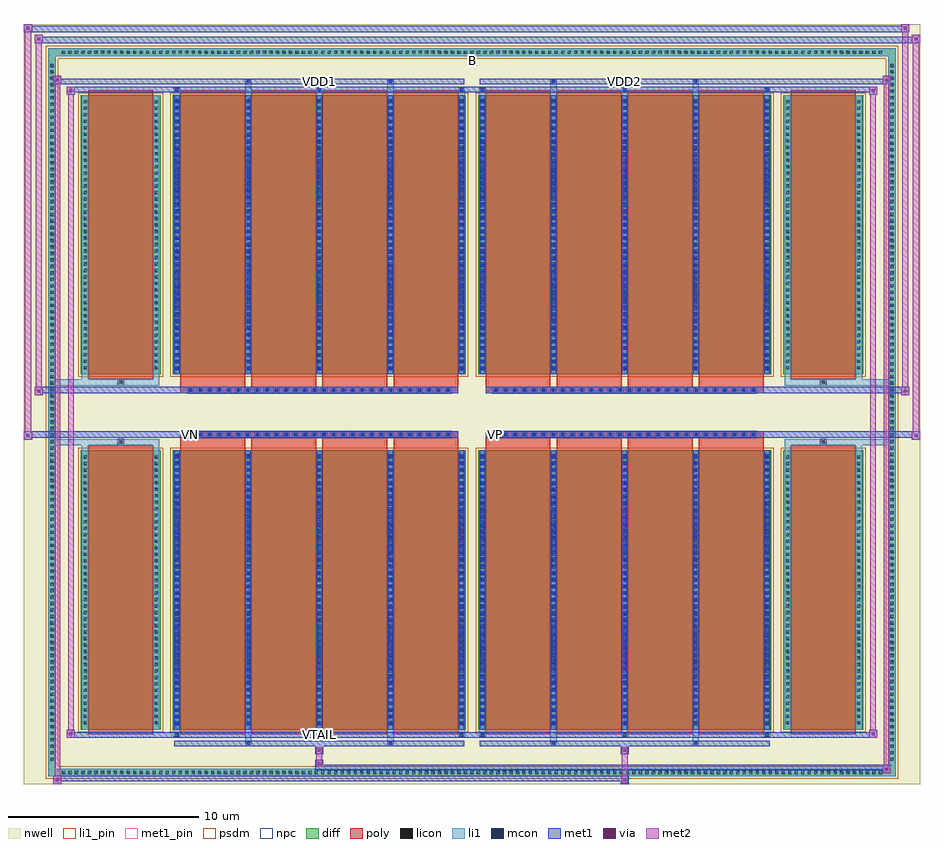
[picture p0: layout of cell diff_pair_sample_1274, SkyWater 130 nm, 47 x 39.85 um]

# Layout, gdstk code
import gdstk
lib = gdstk.Library(unit=1e-6, precision=5e-09)
def R(c, l, rs):  # rectangles x0, y0, x1, y1
    for r in rs: c.add(gdstk.rectangle(r[:2], r[2:], *l))
def A(c, l, x, y, w, h, nx, ny, dx, dy):  # array of equal rectangles
    R(c, l, [(x+i*dx, y+j*dy, x+i*dx+w, y+j*dy+h) for i in range(nx) for j in range(ny)])
def P(c, l, *ps):  # polygons
    for p in ps: c.add(gdstk.Polygon(p, *l))
nwell = (64, 20)
diff = (65, 20)
poly = (66, 20)
licon = (66, 44)
li1_pin = (67, 16)
li1 = (67, 20)
mcon = (67, 44)
met1_pin = (68, 16)
met1 = (68, 20)
via = (68, 44)
met2 = (69, 20)
psdm = (94, 20)
npc = (95, 20)

diff_pair_sample_1274 = lib.new_cell('diff_pair_sample_1274')
R(diff_pair_sample_1274, nwell, [(-23.5,-19.49,23.5,20.36), (-20.82,-17.68,-0.01,-0.8), (0.01,-17.68,20.82,-0.8), (-20.82,0.8,-0.01,17.68), (0.01,0.8,20.82,17.68)])
A(diff_pair_sample_1274, diff, -21.625, -19.09, 0.41, 0.41, 127, 2, 0.34, 37.77)
A(diff_pair_sample_1274, diff, -22.23, -18.395, 0.41, 0.41, 1, 108, 0, 0.34)
A(diff_pair_sample_1274, diff, 21.82, -18.395, 0.41, 0.41, 1, 108, 0, 0.34)
R(diff_pair_sample_1274, diff, [(-21.625,-19.09,21.625,-18.68), (-22.23,-18.395,-21.82,18.395), (21.82,-18.395,22.23,18.395), (-20.51,-16.635,-16.33,-1.985), (-15.69,-16.635,-0.32,-1.985), (0.32,-16.635,15.69,-1.985), (16.33,-16.635,20.51,-1.985), (-20.51,1.985,-16.33,16.635), (-15.69,1.985,-0.32,16.635), (0.32,1.985,15.69,16.635), (16.33,1.985,20.51,16.635), (-21.625,18.68,21.625,19.09)])
P(diff_pair_sample_1274, diff, [(22.23,19.09),(-22.23,19.09),(-22.23,-18.68),(-21.82,-18.68),(-21.82,18.68),(21.82,18.68),(21.82,-18.68),(-21.82,-18.68),(-22.23,-18.68),(-22.23,-19.09),(22.23,-19.09)])
A(diff_pair_sample_1274, poly, -15.3, -16.885, 3.4, 15.15, 4, 2, 3.73, 18.62)
A(diff_pair_sample_1274, poly, 0.71, -16.885, 3.4, 15.15, 4, 2, 3.73, 18.62)
A(diff_pair_sample_1274, poly, -15.3, -1.735, 3.4, 0.405, 4, 2, 3.73, 3.065)
A(diff_pair_sample_1274, poly, 0.71, -1.735, 3.4, 0.405, 4, 2, 3.73, 3.065)
A(diff_pair_sample_1274, poly, -14.92, -1.33, 0.33, 0.33, 28, 2, 0.5, 2.33)
A(diff_pair_sample_1274, poly, 1.09, -1.33, 0.33, 0.33, 28, 2, 0.5, 2.33)
R(diff_pair_sample_1274, poly, [(-20.12,-16.885,-16.72,-1.735), (16.72,-16.885,20.12,-1.735), (-18.585,-1.735,-18.255,-1.405), (-18.585,-1.735,-18.255,-1.405), (18.255,-1.735,18.585,-1.405), (18.255,-1.735,18.585,-1.405), (-15.3,-1.33,-0.71,-1), (0.71,-1.33,15.3,-1), (-15.3,1,-0.71,1.33), (0.71,1,15.3,1.33), (-18.585,1.405,-18.255,1.735), (-18.585,1.405,-18.255,1.735), (18.255,1.405,18.585,1.735), (18.255,1.405,18.585,1.735), (-20.12,1.735,-16.72,16.885), (16.72,1.735,20.12,16.885)])
A(diff_pair_sample_1274, licon, -21.505, -18.97, 0.17, 0.17, 127, 2, 0.34, 37.77)
A(diff_pair_sample_1274, licon, -22.11, -18.275, 0.17, 0.17, 1, 108, 0, 0.34)
A(diff_pair_sample_1274, licon, 21.94, -18.275, 0.17, 0.17, 1, 108, 0, 0.34)
A(diff_pair_sample_1274, licon, -20.37, -16.365, 0.17, 0.17, 1, 42, 0, 0.34)
A(diff_pair_sample_1274, licon, -16.64, -16.365, 0.17, 0.17, 1, 42, 0, 0.34)
A(diff_pair_sample_1274, licon, -15.55, -16.365, 0.17, 0.17, 5, 42, 3.73, 0.34)
A(diff_pair_sample_1274, licon, 0.46, -16.365, 0.17, 0.17, 5, 42, 3.73, 0.34)
A(diff_pair_sample_1274, licon, 16.47, -16.365, 0.17, 0.17, 1, 42, 0, 0.34)
A(diff_pair_sample_1274, licon, 20.2, -16.365, 0.17, 0.17, 1, 42, 0, 0.34)
A(diff_pair_sample_1274, licon, -14.84, -1.25, 0.17, 0.17, 28, 2, 0.5, 2.33)
A(diff_pair_sample_1274, licon, 1.17, -1.25, 0.17, 0.17, 28, 2, 0.5, 2.33)
A(diff_pair_sample_1274, licon, -20.37, 2.255, 0.17, 0.17, 1, 42, 0, 0.34)
A(diff_pair_sample_1274, licon, -16.64, 2.255, 0.17, 0.17, 1, 42, 0, 0.34)
A(diff_pair_sample_1274, licon, -15.55, 2.255, 0.17, 0.17, 5, 42, 3.73, 0.34)
A(diff_pair_sample_1274, licon, 0.46, 2.255, 0.17, 0.17, 5, 42, 3.73, 0.34)
A(diff_pair_sample_1274, licon, 16.47, 2.255, 0.17, 0.17, 1, 42, 0, 0.34)
A(diff_pair_sample_1274, licon, 20.2, 2.255, 0.17, 0.17, 1, 42, 0, 0.34)
R(diff_pair_sample_1274, licon, [(-18.505,-1.655,-18.335,-1.485), (18.335,-1.655,18.505,-1.485), (-18.505,1.485,-18.335,1.655), (18.335,1.485,18.505,1.655)])
R(diff_pair_sample_1274, li1_pin, [(-0.25,18.18,0.25,18.68)])
A(diff_pair_sample_1274, li1, -21.585, -19.05, 0.33, 0.33, 127, 2, 0.34, 37.77)
A(diff_pair_sample_1274, li1, -22.19, -18.355, 0.33, 0.33, 1, 108, 0, 0.34)
A(diff_pair_sample_1274, li1, 21.86, -18.355, 0.33, 0.33, 1, 108, 0, 0.34)
A(diff_pair_sample_1274, li1, -15.63, -17.01, 0.33, 0.375, 3, 2, 7.46, 33.645)
A(diff_pair_sample_1274, li1, -15.55, -17.01, 0.17, 0.17, 3, 2, 7.46, 33.85)
A(diff_pair_sample_1274, li1, 0.38, -17.01, 0.33, 0.375, 3, 2, 7.46, 33.645)
A(diff_pair_sample_1274, li1, 0.46, -17.01, 0.17, 0.17, 3, 2, 7.46, 33.85)
A(diff_pair_sample_1274, li1, -15.63, -16.635, 0.33, 14.65, 5, 2, 3.73, 18.62)
A(diff_pair_sample_1274, li1, 0.38, -16.635, 0.33, 14.65, 5, 2, 3.73, 18.62)
A(diff_pair_sample_1274, li1, -20.45, -16.445, 0.33, 0.33, 1, 42, 0, 0.34)
A(diff_pair_sample_1274, li1, -16.72, -16.445, 0.33, 0.33, 1, 42, 0, 0.34)
A(diff_pair_sample_1274, li1, -15.63, -16.445, 0.33, 0.33, 5, 42, 3.73, 0.34)
A(diff_pair_sample_1274, li1, 0.38, -16.445, 0.33, 0.33, 5, 42, 3.73, 0.34)
A(diff_pair_sample_1274, li1, 16.39, -16.445, 0.33, 0.33, 1, 42, 0, 0.34)
A(diff_pair_sample_1274, li1, 20.12, -16.445, 0.33, 0.33, 1, 42, 0, 0.34)
A(diff_pair_sample_1274, li1, -15.55, -16.415, 0.17, 0.17, 5, 40, 3.73, 0.36)
A(diff_pair_sample_1274, li1, -15.55, -16.415, 0.17, 14.21, 5, 2, 3.73, 18.62)
A(diff_pair_sample_1274, li1, 0.46, -16.415, 0.17, 0.17, 5, 40, 3.73, 0.36)
A(diff_pair_sample_1274, li1, 0.46, -16.415, 0.17, 14.21, 5, 2, 3.73, 18.62)
A(diff_pair_sample_1274, li1, -14.92, -1.33, 0.33, 0.33, 28, 2, 0.5, 2.33)
A(diff_pair_sample_1274, li1, 1.09, -1.33, 0.33, 0.33, 28, 2, 0.5, 2.33)
A(diff_pair_sample_1274, li1, -20.45, 2.175, 0.33, 0.33, 1, 42, 0, 0.34)
A(diff_pair_sample_1274, li1, -16.72, 2.175, 0.33, 0.33, 1, 42, 0, 0.34)
A(diff_pair_sample_1274, li1, -15.63, 2.175, 0.33, 0.33, 5, 42, 3.73, 0.34)
A(diff_pair_sample_1274, li1, 0.38, 2.175, 0.33, 0.33, 5, 42, 3.73, 0.34)
A(diff_pair_sample_1274, li1, 16.39, 2.175, 0.33, 0.33, 1, 42, 0, 0.34)
A(diff_pair_sample_1274, li1, 20.12, 2.175, 0.33, 0.33, 1, 42, 0, 0.34)
A(diff_pair_sample_1274, li1, -15.55, 2.205, 0.17, 0.17, 5, 40, 3.73, 0.36)
A(diff_pair_sample_1274, li1, 0.46, 2.205, 0.17, 0.17, 5, 40, 3.73, 0.36)
R(diff_pair_sample_1274, li1, [(-22.23,-19.09,-21.82,-18.68), (-22.23,-19.09,-21.82,-18.68), (-21.82,-19.09,21.82,-18.68), (21.82,-19.09,22.23,-18.68), (21.82,-19.09,22.23,-18.68), (-22.23,-18.68,-21.82,18.68), (21.82,-18.68,22.23,18.68), (-11.9,-17.44,-11.57,-16.635), (-11.82,-17.44,-11.65,-17.27), (-4.44,-17.44,-4.11,-16.635), (-4.36,-17.44,-4.19,-17.27), (4.11,-17.44,4.44,-16.635), (4.19,-17.44,4.36,-17.27), (11.57,-17.44,11.9,-16.635), (11.65,-17.44,11.82,-17.27), (-20.45,-16.635,-20.12,-1.985), (-16.72,-16.635,-16.39,-1.985), (16.39,-16.635,16.72,-1.985), (20.12,-16.635,20.45,-1.985), (-20.45,-1.985,-20.12,-1.405), (-16.72,-1.985,-16.39,-1.405), (16.39,-1.985,16.72,-1.405), (20.12,-1.985,20.45,-1.405), (-22.23,-1.735,-18.585,-1.405), (-20.45,-1.735,-18.585,-1.405), (-18.585,-1.735,-18.255,-1.405), (-18.255,-1.735,-16.39,-1.405), (16.39,-1.735,18.255,-1.405), (18.255,-1.735,18.585,-1.405), (18.255,-1.735,22.23,-1.405), (18.585,-1.735,20.45,-1.405), (-22.23,1.405,-18.585,1.735), (-20.45,1.405,-18.585,1.735), (-20.45,1.405,-20.12,1.985), (-18.585,1.405,-18.255,1.735), (-18.255,1.405,-16.39,1.735), (-16.72,1.405,-16.39,1.985), (16.39,1.405,18.255,1.735), (16.39,1.405,16.72,1.985), (18.255,1.405,18.585,1.735), (18.255,1.405,22.23,1.735), (18.585,1.405,20.45,1.735), (20.12,1.405,20.45,1.985), (-20.45,1.985,-20.12,16.635), (-16.72,1.985,-16.39,16.635), (16.39,1.985,16.72,16.635), (20.12,1.985,20.45,16.635), (-11.9,16.635,-11.57,17.44), (-4.44,16.635,-4.11,17.44), (4.11,16.635,4.44,17.44), (11.57,16.635,11.9,17.44), (-11.82,17.27,-11.65,17.44), (-4.36,17.27,-4.19,17.44), (4.19,17.27,4.36,17.44), (11.65,17.27,11.82,17.44), (-22.23,18.68,-21.82,19.09), (-22.23,18.68,-21.82,19.09), (-21.82,18.68,21.82,19.09), (21.82,18.68,22.23,19.09), (21.82,18.68,22.23,19.09)])
A(diff_pair_sample_1274, mcon, -15.55, -17.01, 0.17, 0.17, 3, 2, 7.46, 33.85)
A(diff_pair_sample_1274, mcon, 0.46, -17.01, 0.17, 0.17, 3, 2, 7.46, 33.85)
A(diff_pair_sample_1274, mcon, -15.55, -16.415, 0.17, 0.17, 5, 40, 3.73, 0.36)
A(diff_pair_sample_1274, mcon, 0.46, -16.415, 0.17, 0.17, 5, 40, 3.73, 0.36)
A(diff_pair_sample_1274, mcon, -14.84, -1.25, 0.17, 0.17, 28, 2, 0.5, 2.33)
A(diff_pair_sample_1274, mcon, 1.17, -1.25, 0.17, 0.17, 28, 2, 0.5, 2.33)
A(diff_pair_sample_1274, mcon, -15.55, 2.205, 0.17, 0.17, 5, 40, 3.73, 0.36)
A(diff_pair_sample_1274, mcon, 0.46, 2.205, 0.17, 0.17, 5, 40, 3.73, 0.36)
R(diff_pair_sample_1274, mcon, [(-11.82,-17.44,-11.65,-17.27), (-4.36,-17.44,-4.19,-17.27), (4.19,-17.44,4.36,-17.27), (11.65,-17.44,11.82,-17.27), (-11.82,17.27,-11.65,17.44), (-4.36,17.27,-4.19,17.44), (4.19,17.27,4.36,17.44), (11.65,17.27,11.82,17.44)])
R(diff_pair_sample_1274, met1_pin, [(-8.14,-17.05,-7.87,-16.78), (-14.89,-1.29,-14.62,-1.02), (1.12,-1.29,1.39,-1.02), (-8.14,17.23,-7.87,17.5), (7.87,17.23,8.14,17.5)])
A(diff_pair_sample_1274, met1, -15.61, -17.07, 0.29, 0.29, 3, 2, 7.46, 33.85)
A(diff_pair_sample_1274, met1, 0.4, -17.07, 0.29, 0.29, 3, 2, 7.46, 33.85)
A(diff_pair_sample_1274, met1, -15.61, -16.635, 0.29, 14.65, 5, 2, 3.73, 18.62)
A(diff_pair_sample_1274, met1, 0.4, -16.635, 0.29, 14.65, 5, 2, 3.73, 18.62)
A(diff_pair_sample_1274, met1, -15.61, -16.475, 0.29, 0.29, 5, 40, 3.73, 0.36)
A(diff_pair_sample_1274, met1, 0.4, -16.475, 0.29, 0.29, 5, 40, 3.73, 0.36)
A(diff_pair_sample_1274, met1, -14.9, -1.31, 0.29, 0.29, 28, 2, 0.5, 2.33)
A(diff_pair_sample_1274, met1, 1.11, -1.31, 0.29, 0.29, 28, 2, 0.5, 2.33)
A(diff_pair_sample_1274, met1, -15.61, 2.145, 0.29, 0.29, 5, 40, 3.73, 0.36)
A(diff_pair_sample_1274, met1, 0.4, 2.145, 0.29, 0.29, 5, 40, 3.73, 0.36)
R(diff_pair_sample_1274, met1, [(-21.96,-19.49,-21.53,-19.06), (7.79,-19.49,8.22,-19.06), (-21.96,-19.35,8.22,-19.06), (21.53,-18.92,21.96,-18.49), (-8.22,-18.78,21.96,-18.49), (-8.22,-18.64,-7.79,-18.21), (-8.22,-17.93,-7.79,-17.5), (7.79,-17.93,8.22,-17.5), (-15.61,-17.5,-0.4,-17.21), (-11.88,-17.5,-11.59,-17.21), (-4.42,-17.5,-4.13,-17.21), (0.4,-17.5,15.61,-17.21), (4.13,-17.5,4.42,-17.21), (11.59,-17.5,11.88,-17.21), (-21.25,-17.07,-20.82,-16.64), (-21.25,-17.07,-15.61,-16.78), (-15.61,-17.07,-0.4,-16.78), (-0.4,-17.07,0.4,-16.78), (0.4,-17.07,15.61,-16.78), (15.61,-17.07,21.25,-16.78), (20.82,-17.07,21.25,-16.64), (-23.5,-1.43,-23.07,-1), (23.07,-1.43,23.5,-1), (-23.5,-1.33,-0.71,-1), (-15.3,-1.33,-0.71,-1), (0.71,-1.33,15.3,-1), (0.71,-1.33,23.5,-1), (-22.93,0.9,-22.5,1.33), (22.5,0.9,22.93,1.33), (-22.93,1,-15.3,1.33), (-15.3,1,-0.71,1.33), (0.71,1,15.3,1.33), (15.3,1,22.93,1.33), (-21.25,16.64,-20.82,17.07), (20.82,16.64,21.25,17.07), (-21.25,16.78,-15.61,17.07), (-15.61,16.78,-0.4,17.07), (-0.4,16.78,0.4,17.07), (0.4,16.78,15.61,17.07), (15.61,16.78,21.25,17.07), (-21.96,17.21,-21.53,17.64), (-21.96,17.21,-15.61,17.5), (-15.61,17.21,-0.4,17.5), (-11.88,17.21,-11.59,17.5), (-4.42,17.21,-4.13,17.5), (0.4,17.21,15.61,17.5), (4.13,17.21,4.42,17.5), (11.59,17.21,11.88,17.5), (15.61,17.21,21.96,17.5), (21.53,17.21,21.96,17.64), (-22.93,19.36,-22.5,19.79), (-22.93,19.36,-20.82,19.69), (-20.82,19.36,20.82,19.69), (20.82,19.36,23.5,19.69), (23.07,19.36,23.5,19.79), (-23.5,19.93,-23.07,20.36), (-23.5,19.93,-20.82,20.26), (-20.82,19.93,20.82,20.26), (20.82,19.93,22.93,20.26), (22.5,19.93,22.93,20.36)])
R(diff_pair_sample_1274, via, [(-21.82,-19.35,-21.67,-19.2), (7.93,-19.35,8.08,-19.2), (21.67,-18.78,21.82,-18.63), (-8.08,-18.5,-7.93,-18.35), (-8.08,-17.79,-7.93,-17.64), (7.93,-17.79,8.08,-17.64), (-21.11,-16.93,-20.96,-16.78), (20.96,-16.93,21.11,-16.78), (-23.36,-1.29,-23.21,-1.14), (23.21,-1.29,23.36,-1.14), (-22.79,1.04,-22.64,1.19), (22.64,1.04,22.79,1.19), (-21.11,16.78,-20.96,16.93), (20.96,16.78,21.11,16.93), (-21.82,17.35,-21.67,17.5), (21.67,17.35,21.82,17.5), (-22.79,19.5,-22.64,19.65), (23.21,19.5,23.36,19.65), (-23.36,20.07,-23.21,20.22), (22.64,20.07,22.79,20.22)])
R(diff_pair_sample_1274, met2, [(-21.96,-19.49,-21.53,-19.06), (-21.89,-19.49,-21.6,17.64), (-21.6,-19.49,-21.53,-19.06), (-21.91,-19.44,-21.58,-19.11), (7.84,-19.44,8.17,-19.11), (7.84,-19.11,8.17,-17.88), (21.53,-18.92,21.96,-18.49), (21.6,-18.92,21.89,17.64), (21.89,-18.92,21.96,-18.49), (21.58,-18.87,21.91,-18.54), (-8.17,-18.59,-7.84,-18.26), (-8.17,-18.26,-7.84,-17.88), (-8.17,-17.88,-7.84,-17.55), (7.84,-17.88,8.17,-17.55), (-21.25,-17.07,-20.82,-16.64), (-21.18,-17.07,-20.89,17.07), (-20.89,-17.07,-20.82,-16.64), (20.82,-17.07,21.25,-16.64), (20.89,-17.07,21.18,17.07), (21.18,-17.07,21.25,-16.64), (-21.2,-17.02,-20.87,-16.69), (20.87,-17.02,21.2,-16.69), (-23.5,-1.43,-23.07,-1), (-23.45,-1.43,-23.12,20.36), (-23.12,-1.43,-23.07,-1), (23.07,-1.43,23.5,-1), (23.12,-1.43,23.45,19.79), (23.45,-1.43,23.5,-1), (-23.45,-1.38,-23.12,-1.05), (23.12,-1.38,23.45,-1.05), (-22.93,0.9,-22.5,1.33), (-22.88,0.9,-22.55,19.79), (-22.55,0.9,-22.5,1.33), (22.5,0.9,22.93,1.33), (22.55,0.9,22.88,20.36), (22.88,0.9,22.93,1.33), (-22.88,0.95,-22.55,1.28), (22.55,0.95,22.88,1.28), (-21.25,16.64,-20.82,17.07), (-20.89,16.64,-20.82,17.07), (20.82,16.64,21.25,17.07), (21.18,16.64,21.25,17.07), (-21.2,16.69,-20.87,17.02), (20.87,16.69,21.2,17.02), (-21.96,17.21,-21.53,17.64), (-21.6,17.21,-21.53,17.64), (21.53,17.21,21.96,17.64), (21.89,17.21,21.96,17.64), (-21.91,17.26,-21.58,17.59), (21.58,17.26,21.91,17.59), (-22.93,19.36,-22.5,19.79), (-22.55,19.36,-22.5,19.79), (23.07,19.36,23.5,19.79), (23.45,19.36,23.5,19.79), (-22.88,19.41,-22.55,19.74), (23.12,19.41,23.45,19.74), (-23.5,19.93,-23.07,20.36), (-23.12,19.93,-23.07,20.36), (22.5,19.93,22.93,20.36), (22.88,19.93,22.93,20.36), (-23.45,19.98,-23.12,20.31), (22.55,19.98,22.88,20.31)])
R(diff_pair_sample_1274, psdm, [(-20.64,-16.765,-16.2,-1.855), (-15.82,-16.765,-0.19,-1.855), (0.19,-16.765,15.82,-1.855), (16.2,-16.765,20.64,-1.855), (-20.64,1.855,-16.2,16.765), (-15.82,1.855,-0.19,16.765), (0.19,1.855,15.82,16.765), (16.2,1.855,20.64,16.765)])
P(diff_pair_sample_1274, psdm, [(22.36,19.22),(-22.36,19.22),(-22.36,-18.55),(-21.69,-18.55),(-21.69,18.55),(21.69,18.55),(21.69,-18.55),(-21.69,-18.55),(-22.36,-18.55),(-22.36,-19.22),(22.36,-19.22)])
A(diff_pair_sample_1274, npc, -14.94, -1.35, 0.37, 0.37, 28, 2, 0.5, 2.33)
A(diff_pair_sample_1274, npc, 1.07, -1.35, 0.37, 0.37, 28, 2, 0.5, 2.33)
R(diff_pair_sample_1274, npc, [(-18.605,-1.755,-18.235,-1.385), (18.235,-1.755,18.605,-1.385), (-14.94,-1.35,-14.07,-0.98), (-14.94,-1.35,-14.07,-0.98), (-14.44,-1.35,-13.57,-0.98), (-14.44,-1.35,-13.57,-0.98), (-13.94,-1.35,-13.07,-0.98), (-13.94,-1.35,-13.07,-0.98), (-13.44,-1.35,-12.57,-0.98), (-13.44,-1.35,-12.57,-0.98), (-12.94,-1.35,-12.07,-0.98), (-12.94,-1.35,-12.07,-0.98), (-12.44,-1.35,-11.57,-0.98), (-12.44,-1.35,-11.57,-0.98), (-11.94,-1.35,-11.07,-0.98), (-11.94,-1.35,-11.07,-0.98), (-11.44,-1.35,-10.57,-0.98), (-11.44,-1.35,-10.57,-0.98), (-10.94,-1.35,-10.07,-0.98), (-10.94,-1.35,-10.07,-0.98), (-10.44,-1.35,-9.57,-0.98), (-10.44,-1.35,-9.57,-0.98), (-9.94,-1.35,-9.07,-0.98), (-9.94,-1.35,-9.07,-0.98), (-9.44,-1.35,-8.57,-0.98), (-9.44,-1.35,-8.57,-0.98), (-8.94,-1.35,-8.07,-0.98), (-8.94,-1.35,-8.07,-0.98), (-8.44,-1.35,-7.57,-0.98), (-8.44,-1.35,-7.57,-0.98), (-7.94,-1.35,-7.07,-0.98), (-7.94,-1.35,-7.07,-0.98), (-7.44,-1.35,-6.57,-0.98), (-7.44,-1.35,-6.57,-0.98), (-6.94,-1.35,-6.07,-0.98), (-6.94,-1.35,-6.07,-0.98), (-6.44,-1.35,-5.57,-0.98), (-6.44,-1.35,-5.57,-0.98), (-5.94,-1.35,-5.07,-0.98), (-5.94,-1.35,-5.07,-0.98), (-5.44,-1.35,-4.57,-0.98), (-5.44,-1.35,-4.57,-0.98), (-4.94,-1.35,-4.07,-0.98), (-4.94,-1.35,-4.07,-0.98), (-4.44,-1.35,-3.57,-0.98), (-4.44,-1.35,-3.57,-0.98), (-3.94,-1.35,-3.07,-0.98), (-3.94,-1.35,-3.07,-0.98), (-3.44,-1.35,-2.57,-0.98), (-3.44,-1.35,-2.57,-0.98), (-2.94,-1.35,-2.07,-0.98), (-2.94,-1.35,-2.07,-0.98), (-2.44,-1.35,-1.57,-0.98), (-2.44,-1.35,-1.57,-0.98), (-1.94,-1.35,-1.07,-0.98), (-1.94,-1.35,-1.07,-0.98), (1.07,-1.35,1.94,-0.98), (1.07,-1.35,1.94,-0.98), (1.57,-1.35,2.44,-0.98), (1.57,-1.35,2.44,-0.98), (2.07,-1.35,2.94,-0.98), (2.07,-1.35,2.94,-0.98), (2.57,-1.35,3.44,-0.98), (2.57,-1.35,3.44,-0.98), (3.07,-1.35,3.94,-0.98), (3.07,-1.35,3.94,-0.98), (3.57,-1.35,4.44,-0.98), (3.57,-1.35,4.44,-0.98), (4.07,-1.35,4.94,-0.98), (4.07,-1.35,4.94,-0.98), (4.57,-1.35,5.44,-0.98), (4.57,-1.35,5.44,-0.98), (5.07,-1.35,5.94,-0.98), (5.07,-1.35,5.94,-0.98), (5.57,-1.35,6.44,-0.98), (5.57,-1.35,6.44,-0.98), (6.07,-1.35,6.94,-0.98), (6.07,-1.35,6.94,-0.98), (6.57,-1.35,7.44,-0.98), (6.57,-1.35,7.44,-0.98), (7.07,-1.35,7.94,-0.98), (7.07,-1.35,7.94,-0.98), (7.57,-1.35,8.44,-0.98), (7.57,-1.35,8.44,-0.98), (8.07,-1.35,8.94,-0.98), (8.07,-1.35,8.94,-0.98), (8.57,-1.35,9.44,-0.98), (8.57,-1.35,9.44,-0.98), (9.07,-1.35,9.94,-0.98), (9.07,-1.35,9.94,-0.98), (9.57,-1.35,10.44,-0.98), (9.57,-1.35,10.44,-0.98), (10.07,-1.35,10.94,-0.98), (10.07,-1.35,10.94,-0.98), (10.57,-1.35,11.44,-0.98), (10.57,-1.35,11.44,-0.98), (11.07,-1.35,11.94,-0.98), (11.07,-1.35,11.94,-0.98), (11.57,-1.35,12.44,-0.98), (11.57,-1.35,12.44,-0.98), (12.07,-1.35,12.94,-0.98), (12.07,-1.35,12.94,-0.98), (12.57,-1.35,13.44,-0.98), (12.57,-1.35,13.44,-0.98), (13.07,-1.35,13.94,-0.98), (13.07,-1.35,13.94,-0.98), (13.57,-1.35,14.44,-0.98), (13.57,-1.35,14.44,-0.98), (14.07,-1.35,14.94,-0.98), (14.07,-1.35,14.94,-0.98), (-14.94,0.98,-14.07,1.35), (-14.94,0.98,-14.07,1.35), (-14.44,0.98,-13.57,1.35), (-14.44,0.98,-13.57,1.35), (-13.94,0.98,-13.07,1.35), (-13.94,0.98,-13.07,1.35), (-13.44,0.98,-12.57,1.35), (-13.44,0.98,-12.57,1.35), (-12.94,0.98,-12.07,1.35), (-12.94,0.98,-12.07,1.35), (-12.44,0.98,-11.57,1.35), (-12.44,0.98,-11.57,1.35), (-11.94,0.98,-11.07,1.35), (-11.94,0.98,-11.07,1.35), (-11.44,0.98,-10.57,1.35), (-11.44,0.98,-10.57,1.35), (-10.94,0.98,-10.07,1.35), (-10.94,0.98,-10.07,1.35), (-10.44,0.98,-9.57,1.35), (-10.44,0.98,-9.57,1.35), (-9.94,0.98,-9.07,1.35), (-9.94,0.98,-9.07,1.35), (-9.44,0.98,-8.57,1.35), (-9.44,0.98,-8.57,1.35), (-8.94,0.98,-8.07,1.35), (-8.94,0.98,-8.07,1.35), (-8.44,0.98,-7.57,1.35), (-8.44,0.98,-7.57,1.35), (-7.94,0.98,-7.07,1.35), (-7.94,0.98,-7.07,1.35), (-7.44,0.98,-6.57,1.35), (-7.44,0.98,-6.57,1.35), (-6.94,0.98,-6.07,1.35), (-6.94,0.98,-6.07,1.35), (-6.44,0.98,-5.57,1.35), (-6.44,0.98,-5.57,1.35), (-5.94,0.98,-5.07,1.35), (-5.94,0.98,-5.07,1.35), (-5.44,0.98,-4.57,1.35), (-5.44,0.98,-4.57,1.35), (-4.94,0.98,-4.07,1.35), (-4.94,0.98,-4.07,1.35), (-4.44,0.98,-3.57,1.35), (-4.44,0.98,-3.57,1.35), (-3.94,0.98,-3.07,1.35), (-3.94,0.98,-3.07,1.35), (-3.44,0.98,-2.57,1.35), (-3.44,0.98,-2.57,1.35), (-2.94,0.98,-2.07,1.35), (-2.94,0.98,-2.07,1.35), (-2.44,0.98,-1.57,1.35), (-2.44,0.98,-1.57,1.35), (-1.94,0.98,-1.07,1.35), (-1.94,0.98,-1.07,1.35), (1.07,0.98,1.94,1.35), (1.07,0.98,1.94,1.35), (1.57,0.98,2.44,1.35), (1.57,0.98,2.44,1.35), (2.07,0.98,2.94,1.35), (2.07,0.98,2.94,1.35), (2.57,0.98,3.44,1.35), (2.57,0.98,3.44,1.35), (3.07,0.98,3.94,1.35), (3.07,0.98,3.94,1.35), (3.57,0.98,4.44,1.35), (3.57,0.98,4.44,1.35), (4.07,0.98,4.94,1.35), (4.07,0.98,4.94,1.35), (4.57,0.98,5.44,1.35), (4.57,0.98,5.44,1.35), (5.07,0.98,5.94,1.35), (5.07,0.98,5.94,1.35), (5.57,0.98,6.44,1.35), (5.57,0.98,6.44,1.35), (6.07,0.98,6.94,1.35), (6.07,0.98,6.94,1.35), (6.57,0.98,7.44,1.35), (6.57,0.98,7.44,1.35), (7.07,0.98,7.94,1.35), (7.07,0.98,7.94,1.35), (7.57,0.98,8.44,1.35), (7.57,0.98,8.44,1.35), (8.07,0.98,8.94,1.35), (8.07,0.98,8.94,1.35), (8.57,0.98,9.44,1.35), (8.57,0.98,9.44,1.35), (9.07,0.98,9.94,1.35), (9.07,0.98,9.94,1.35), (9.57,0.98,10.44,1.35), (9.57,0.98,10.44,1.35), (10.07,0.98,10.94,1.35), (10.07,0.98,10.94,1.35), (10.57,0.98,11.44,1.35), (10.57,0.98,11.44,1.35), (11.07,0.98,11.94,1.35), (11.07,0.98,11.94,1.35), (11.57,0.98,12.44,1.35), (11.57,0.98,12.44,1.35), (12.07,0.98,12.94,1.35), (12.07,0.98,12.94,1.35), (12.57,0.98,13.44,1.35), (12.57,0.98,13.44,1.35), (13.07,0.98,13.94,1.35), (13.07,0.98,13.94,1.35), (13.57,0.98,14.44,1.35), (13.57,0.98,14.44,1.35), (14.07,0.98,14.94,1.35), (14.07,0.98,14.94,1.35), (-18.605,1.385,-18.235,1.755), (18.235,1.385,18.605,1.755)])
diff_pair_sample_1274.add(gdstk.Label('VTAIL', (-8.005,-16.915), layer=68, texttype=5))
diff_pair_sample_1274.add(gdstk.Label('VN', (-14.755,-1.155), layer=68, texttype=5))
diff_pair_sample_1274.add(gdstk.Label('VP', (1.255,-1.155), layer=68, texttype=5))
diff_pair_sample_1274.add(gdstk.Label('B', (0,18.43), layer=67, texttype=5))
diff_pair_sample_1274.add(gdstk.Label('VDD2', (8.005,17.365), layer=68, texttype=5))
diff_pair_sample_1274.add(gdstk.Label('VDD1', (-8.005,17.365), layer=68, texttype=5))

lib.write_gds('diff_pair_sample_1274.gds')
